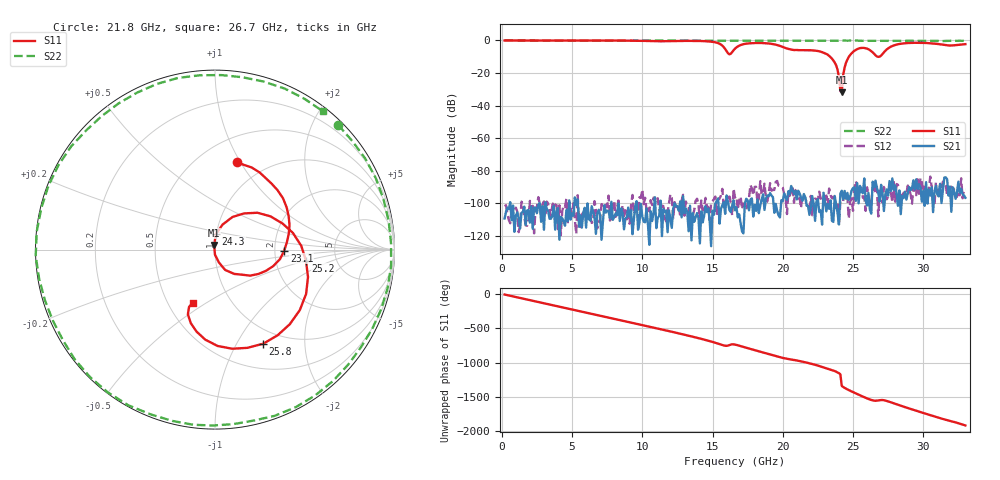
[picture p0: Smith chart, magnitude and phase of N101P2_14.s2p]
# GHZ S RI R 50
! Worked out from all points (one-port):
!   329 points, 200 MHz to 33 GHz, reference 50 ohm
!   lowest |S11| = -31.8 dB at 24.2 GHz (marker M1), VSWR 1.05, Z = 49.5 + j2.51 ohm
!   |S11| at or under -10 dB: 23.37 GHz to 24.71 GHz (1.34 GHz wide, 5.58 % of centre); 26.76714 GHz to 26.86153 GHz (94.39 MHz wide, 0.352 % of centre)
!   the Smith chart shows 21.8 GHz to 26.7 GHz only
!   S11 on the Smith chart (normalised r, x): 21.8 GHz: 0.74, +0.97; 23.1 GHz: 2.26, -0.03; 24.3 GHz: 1.00, +0.17; 25.2 GHz: 2.99, -0.51; 25.8 GHz: 0.81, -1.29; 26.7 GHz: 0.66, -0.44
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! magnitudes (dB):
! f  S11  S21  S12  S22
! 200 MHz  0.0  -109.3  -101.7  0.0
! 5.7 GHz  0.0  -114.9  -104.8  -0.1
! 11.2 GHz  -0.5  -107.9  -103.6  -0.2
! 15.2 GHz  -1.1  -100.0  -95.8  -0.1
! 16.2 GHz  -8.5  -104.1  -95.8  -0.2
! 16.6 GHz  -5.1  -104.3  -96.4  -0.1
! 18.4 GHz  -1.5  -101.2  -86.4  -0.1
! 21.8 GHz  -6.0  -101.5  -99.1  -0.2
! 22.1 GHz  -6.1  -95.6  -107.3  -0.2
! 23.1 GHz  -8.3  -104.9  -95.2  -0.1
! 23.8 GHz  -15.3  -100.8  -102.0  -0.1
! 24 GHz  -22.5  -113.0  -113.6  -0.1
! 24.1 GHz  -31.0  -94.0  -98.9  -0.1
! 24.2 GHz  -31.8  -92.3  -98.0  0.0
! 24.3 GHz  -21.2  -97.5  -98.8  0.0
! 24.6 GHz  -11.8  -93.6  -96.5  -0.1
! 25.2 GHz  -5.8  -98.6  -86.4  -0.1
! 25.8 GHz  -4.6  -84.7  -96.1  -0.2
! 26.7 GHz  -9.8  -90.9  -89.7  -0.2
! 27.6 GHz  -4.3  -86.3  -93.9  -0.2
! 29.2 GHz  -1.5  -90.6  -100.2  -0.2
! 33 GHz  -2.3  -96.6  -91.5  -0.3
